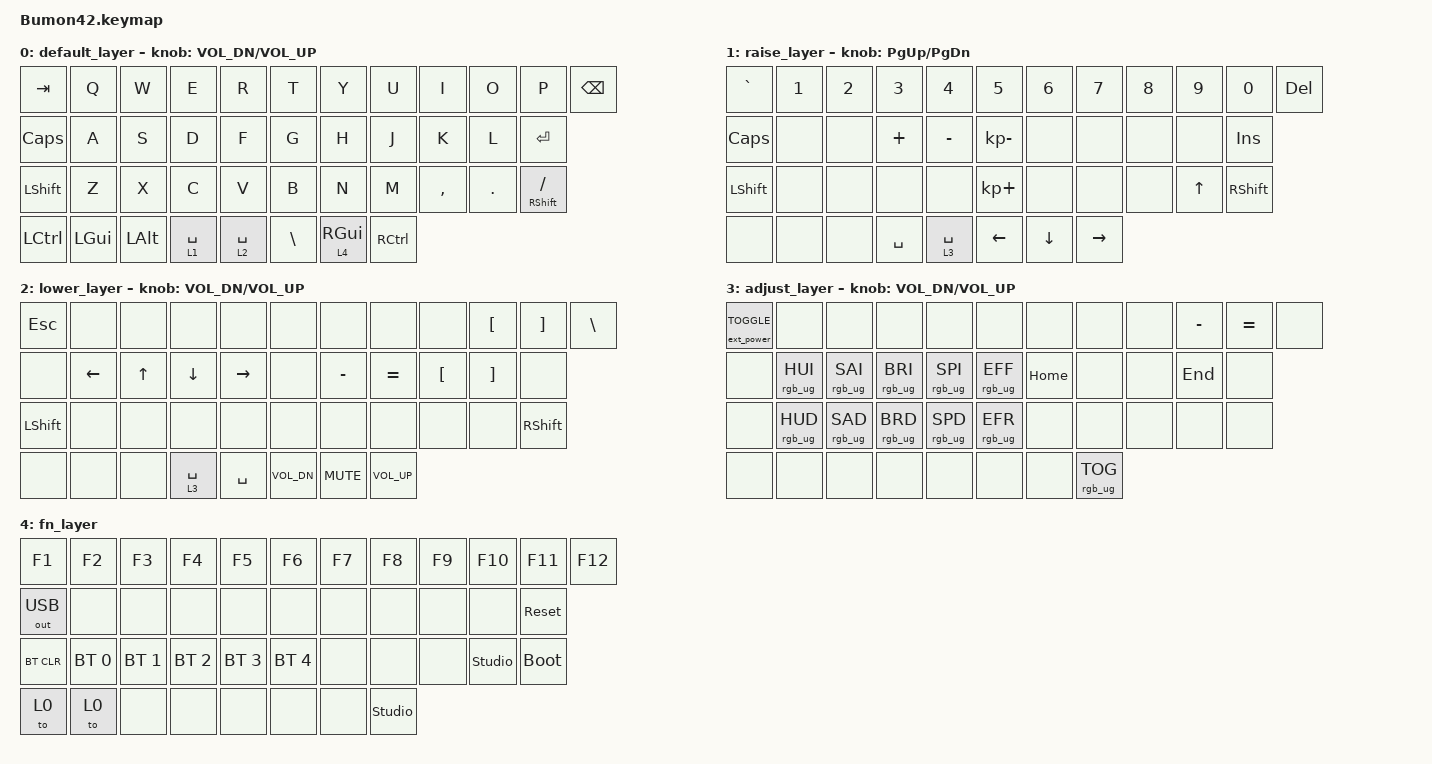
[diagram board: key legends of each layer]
#include <behaviors.dtsi>
#include <dt-bindings/zmk/bt.h>
#include <dt-bindings/zmk/ext_power.h>
#include <dt-bindings/zmk/keys.h>
#include <dt-bindings/zmk/outputs.h>
#include <dt-bindings/zmk/rgb.h>

// changed lwr and rse

#define DEF 0
#define GAM 1
#define RSE 2
#define LWR 3
#define ADJ 4
#define FN  5

/ {
    combos {
        compatible = "zmk,combos";

        fenhao {
            bindings = <&kp SEMICOLON>;
            key-positions = <20 21>;
        };

        Delete {
            bindings = <&kp DELETE>;
            key-positions = <11 10>;
        };
    };

    keymap {
        compatible = "zmk,keymap";

        default_layer {
            bindings = <
&kp TAB       &kp Q     &kp W     &kp E        &kp R        &kp T     &kp Y       &kp U      &kp I      &kp O    &kp P             &kp BSPC
&kp CAPSLOCK  &kp A     &kp S     &kp D        &kp F        &kp G     &kp H       &kp J      &kp K      &kp L    &kp ENTER
&kp LSHFT     &kp Z     &kp X     &kp C        &kp V        &kp B     &kp N       &kp M      &kp COMMA  &kp DOT  &mt RSHIFT SLASH
&kp LCTRL     &kp LGUI  &kp LALT  &lt 1 SPACE  &lt 2 SPACE  &kp BSLH  &lt 4 RGUI  &kp RCTRL
            >;

            sensor-bindings = <&inc_dec_kp C_VOL_DN C_VOL_UP>;
        };

        raise_layer {
            bindings = <
&kp GRAVE  &kp N1  &kp N2  &kp N3     &kp N4       &kp N5          &kp N6          &kp N7           &kp N8  &kp N9        &kp N0     &kp DEL
&kp CAPS   &none   &none   &kp PLUS   &kp MINUS    &kp KP_MINUS    &none           &none            &none   &none         &kp INS
&kp LSHFT  &none   &none   &none      &none        &kp KP_PLUS     &none           &none            &none   &kp UP_ARROW  &kp RSHFT
&none      &none   &none   &kp SPACE  &lt 3 SPACE  &kp LEFT_ARROW  &kp DOWN_ARROW  &kp RIGHT_ARROW
            >;

            sensor-bindings = <&inc_dec_kp PG_UP PG_DN>;
        };

        lower_layer {
            bindings = <
&kp ESC    &none           &none         &none           &none            &none         &none       &none         &none             &kp LBKT           &kp RBKT   &kp BSLH
&none      &kp LEFT_ARROW  &kp UP_ARROW  &kp DOWN_ARROW  &kp RIGHT_ARROW  &none         &kp MINUS   &kp EQUAL     &kp LEFT_BRACKET  &kp RIGHT_BRACKET  &none
&kp LSHFT  &none           &none         &none           &none            &none         &none       &none         &none             &none              &kp RSHFT
&none      &none           &none         &lt 3 SPACE     &kp SPACE        &kp C_VOL_DN  &kp C_MUTE  &kp C_VOL_UP
            >;

            sensor-bindings = <&inc_dec_kp C_VOL_DN C_VOL_UP>;
        };

        adjust_layer {
            bindings = <
&ext_power EXT_POWER_TOGGLE_CMD  &none            &none            &none            &none            &none            &none     &none            &none  &kp MINUS  &kp EQUAL  &none
&none                            &rgb_ug RGB_HUI  &rgb_ug RGB_SAI  &rgb_ug RGB_BRI  &rgb_ug RGB_SPI  &rgb_ug RGB_EFF  &kp HOME  &none            &none  &kp END    &none
&none                            &rgb_ug RGB_HUD  &rgb_ug RGB_SAD  &rgb_ug RGB_BRD  &rgb_ug RGB_SPD  &rgb_ug RGB_EFR  &none     &none            &none  &none      &none
&none                            &none            &none            &none            &none            &none            &none     &rgb_ug RGB_TOG
            >;

            sensor-bindings = <&inc_dec_kp C_VOL_DN C_VOL_UP>;
        };

        fn_layer {
            bindings = <
&kp F1        &kp F2        &kp F3        &kp F4        &kp F5        &kp F6        &kp F7  &kp F8          &kp F9  &kp F10         &kp F11      &kp F12
&out OUT_USB  &none         &none         &none         &none         &none         &none   &none           &none   &none           &sys_reset
&bt BT_CLR    &bt BT_SEL 0  &bt BT_SEL 1  &bt BT_SEL 2  &bt BT_SEL 3  &bt BT_SEL 4  &none   &none           &none   &studio_unlock  &bootloader
&to 0         &to 0         &none         &none         &none         &none         &none   &studio_unlock
            >;
        };

        extra1 { status = "reserved"; };

        extra2 { status = "reserved"; };
    };
};
